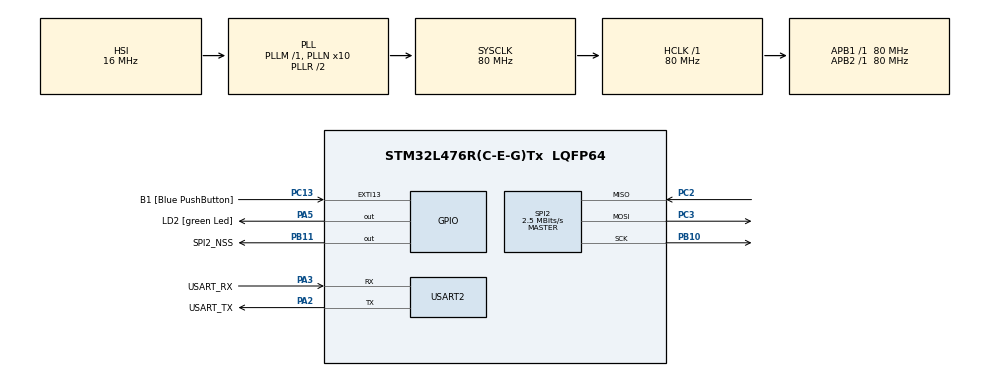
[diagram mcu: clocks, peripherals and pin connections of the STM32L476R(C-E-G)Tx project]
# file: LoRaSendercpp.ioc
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Mcu.Family=STM32L4
Mcu.Name=STM32L476R(C-E-G)Tx
Mcu.Package=LQFP64
NVIC.EXTI15_10_IRQn=true\:0\:0\:false\:false\:true\:true\:true
NVIC.PriorityGroup=NVIC_PRIORITYGROUP_4
PA13\ (JTMS-SWDIO).GPIO_Label=TMS
PA13\ (JTMS-SWDIO).Mode=Serial_Wire
PA13\ (JTMS-SWDIO).Signal=SYS_JTMS-SWDIO
PA14\ (JTCK-SWCLK).GPIO_Label=TCK
PA14\ (JTCK-SWCLK).Mode=Serial_Wire
PA14\ (JTCK-SWCLK).Signal=SYS_JTCK-SWCLK
PA2.GPIO_Label=USART_TX
PA2.GPIO_Mode=GPIO_MODE_AF_PP
PA2.GPIO_PuPd=GPIO_NOPULL
PA2.GPIO_Speed=GPIO_SPEED_FREQ_VERY_HIGH
PA2.Mode=Asynchronous
PA2.Signal=USART2_TX
PA3.GPIO_Label=USART_RX
PA3.GPIO_Mode=GPIO_MODE_AF_PP
PA3.GPIO_PuPd=GPIO_NOPULL
PA3.GPIO_Speed=GPIO_SPEED_FREQ_VERY_HIGH
PA3.Mode=Asynchronous
PA3.Signal=USART2_RX
PA5.GPIO_Label=LD2 [green Led]
PA5.GPIO_ModeDefaultOutputPP=GPIO_MODE_OUTPUT_PP
PA5.GPIO_PuPd=GPIO_NOPULL
PA5.GPIO_Speed=GPIO_SPEED_FREQ_LOW
PA5.Signal=GPIO_Output
PB10.Mode=Full_Duplex_Master
PB10.Signal=SPI2_SCK
PB11.GPIO_Label=SPI2_NSS
PB11.PinState=GPIO_PIN_SET
PB11.Signal=GPIO_Output
PB3\ (JTDO-TRACESWO).GPIO_Label=SWO
PB3\ (JTDO-TRACESWO).Signal=SYS_JTDO-SWO
PC13.GPIO_Label=B1 [Blue PushButton]
PC13.GPIO_ModeDefaultEXTI=GPIO_MODE_IT_FALLING
PC13.GPIO_PuPd=GPIO_NOPULL
PC13.Signal=GPXTI13
PC14-OSC32_IN\ (PC14).Mode=LSE-External-Oscillator
PC14-OSC32_IN\ (PC14).Signal=RCC_OSC32_IN
PC15-OSC32_OUT\ (PC15).Mode=LSE-External-Oscillator
PC15-OSC32_OUT\ (PC15).Signal=RCC_OSC32_OUT
PC2.Mode=Full_Duplex_Master
PC2.Signal=SPI2_MISO
PC3.Mode=Full_Duplex_Master
PC3.Signal=SPI2_MOSI
PH0-OSC_IN\ (PH0).Signal=RCC_OSC_IN
PH1-OSC_OUT\ (PH1).Signal=RCC_OSC_OUT
ProjectManager.HeapSize=0x200
ProjectManager.StackSize=0x400
ProjectManager.TargetToolchain=STM32CubeIDE
RCC.ADCFreq_Value=64000000
RCC.AHBFreq_Value=80000000
RCC.APB1Freq_Value=80000000
RCC.APB1TimFreq_Value=80000000
RCC.APB2Freq_Value=80000000
RCC.APB2TimFreq_Value=80000000
RCC.CortexFreq_Value=80000000
RCC.HCLKFreq_Value=80000000
RCC.HSE_VALUE=8000000
RCC.HSI_VALUE=16000000
RCC.MSI_VALUE=4000000
RCC.PLLN=10
RCC.PLLSourceVirtual=RCC_PLLSOURCE_HSI
RCC.PREFETCH_ENABLE=1
RCC.SYSCLKFreq_VALUE=80000000
RCC.SYSCLKSource=RCC_SYSCLKSOURCE_PLLCLK
RCC.USBFreq_Value=64000000
RCC.VCOOutputFreq_Value=160000000
SPI2.BaudRatePrescaler=SPI_BAUDRATEPRESCALER_32
SPI2.CalculateBaudRate=2.5 MBits/s
SPI2.DataSize=SPI_DATASIZE_8BIT
SPI2.Direction=SPI_DIRECTION_2LINES
SPI2.Mode=SPI_MODE_MASTER
SPI2.VirtualType=VM_MASTER
TIM1.Period=0xffff
TIM1.Prescaler=79
USART2.VirtualMode-Asynchronous=VM_ASYNC
VP_TIM1_VS_ClockSourceINT.Mode=Internal
board=NUCLEO-L476RG

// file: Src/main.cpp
/* USER CODE BEGIN Header */
/**
  ******************************************************************************
  * @file           : main.c
  * @brief          : Main program body
  ******************************************************************************
  * @attention
  *
  * <h2><center>&copy; Copyright (c) 2019 STMicroelectronics.
  * All rights reserved.</center></h2>
  *
  * This software component is licensed by ST under BSD 3-Clause license,
  * the "License"; You may not use this file except in compliance with the
  * License. You may obtain a copy of the License at:
  *                        opensource.org/licenses/BSD-3-Clause
  *
  ******************************************************************************
  */
/* USER CODE END Header */

#include "main.h"

/* USER CODE BEGIN Includes */
#include "lora.h"
/* USER CODE END Includes */

SPI_HandleTypeDef hspi2;

TIM_HandleTypeDef htim1;

UART_HandleTypeDef huart2;

/* USER CODE BEGIN PV */
LoRaClass lora;
int counter;

/* USER CODE END PV */

void SystemClock_Config(void);
static void MX_GPIO_Init(void);
static void MX_USART2_UART_Init(void);
static void MX_SPI2_Init(void);
static void MX_TIM1_Init(void);

int main(void)
{

  /* MCU Configuration--------------------------------------------------------*/

  /* Reset of all peripherals, Initializes the Flash interface and the Systick. */
  HAL_Init();

  /* Configure the system clock */
  SystemClock_Config();

  /* Initialize all configured peripherals */
  MX_GPIO_Init();
  MX_USART2_UART_Init();
  MX_SPI2_Init();
  MX_TIM1_Init();

  /* USER CODE BEGIN 2 */
  LoRa.setPins(SPI2_NSS_GPIO_Port, SPI2_NSS_Pin, NULL, -1, EXTI15_10_IRQn);
  LoRa.setSPI(&hspi2);
  LoRa.setTIM(&htim1);

  if (!LoRa.begin(433.123E6)) {
	  printf("Starting LoRa failed!\n");
      while (1);
  }
  LoRa.setTxPower(20, 1);
  LoRa.setSignalBandwidth(125E3);
  LoRa.setSpreadingFactor(11);
  LoRa.enableCrc();
  printf("LoRa started\n");
  /* USER CODE END 2 */

  /* Infinite loop */
  /* USER CODE BEGIN WHILE */
  while (1)
  {
	printf("Sending packet: %d\n", counter);

	// send packet
	LoRa.beginPacket();
	LoRa.print("hello ");
	LoRa.print(counter);
	LoRa.print("\n");
	LoRa.print("LF working");
	LoRa.endPacket();

	counter++;

	HAL_Delay(1500);
    /* USER CODE END WHILE */

  }
}

void SystemClock_Config(void)
{
  RCC_OscInitTypeDef RCC_OscInitStruct = {0};
  RCC_ClkInitTypeDef RCC_ClkInitStruct = {0};
  RCC_PeriphCLKInitTypeDef PeriphClkInit = {0};

  /** Initializes the CPU, AHB and APB busses clocks
  */
  RCC_OscInitStruct.OscillatorType = RCC_OSCILLATORTYPE_HSI;
  RCC_OscInitStruct.HSIState = RCC_HSI_ON;
  RCC_OscInitStruct.HSICalibrationValue = RCC_HSICALIBRATION_DEFAULT;
  RCC_OscInitStruct.PLL.PLLState = RCC_PLL_ON;
  RCC_OscInitStruct.PLL.PLLSource = RCC_PLLSOURCE_HSI;
  RCC_OscInitStruct.PLL.PLLM = 1;
  RCC_OscInitStruct.PLL.PLLN = 10;
  RCC_OscInitStruct.PLL.PLLP = RCC_PLLP_DIV7;
  RCC_OscInitStruct.PLL.PLLQ = RCC_PLLQ_DIV2;
  RCC_OscInitStruct.PLL.PLLR = RCC_PLLR_DIV2;
  if (HAL_RCC_OscConfig(&RCC_OscInitStruct) != HAL_OK)
  {
    Error_Handler();
  }
  /** Initializes the CPU, AHB and APB busses clocks
  */
  RCC_ClkInitStruct.ClockType = RCC_CLOCKTYPE_HCLK|RCC_CLOCKTYPE_SYSCLK
                              |RCC_CLOCKTYPE_PCLK1|RCC_CLOCKTYPE_PCLK2;
  RCC_ClkInitStruct.SYSCLKSource = RCC_SYSCLKSOURCE_PLLCLK;
  RCC_ClkInitStruct.AHBCLKDivider = RCC_SYSCLK_DIV1;
  RCC_ClkInitStruct.APB1CLKDivider = RCC_HCLK_DIV1;
  RCC_ClkInitStruct.APB2CLKDivider = RCC_HCLK_DIV1;

  if (HAL_RCC_ClockConfig(&RCC_ClkInitStruct, FLASH_LATENCY_4) != HAL_OK)
  {
    Error_Handler();
  }
  PeriphClkInit.PeriphClockSelection = RCC_PERIPHCLK_USART2;
  PeriphClkInit.Usart2ClockSelection = RCC_USART2CLKSOURCE_PCLK1;
  if (HAL_RCCEx_PeriphCLKConfig(&PeriphClkInit) != HAL_OK)
  {
    Error_Handler();
  }
  /** Configure the main internal regulator output voltage
  */
  if (HAL_PWREx_ControlVoltageScaling(PWR_REGULATOR_VOLTAGE_SCALE1) != HAL_OK)
  {
    Error_Handler();
  }
}

static void MX_SPI2_Init(void)
{

  /* SPI2 parameter configuration*/
  hspi2.Instance = SPI2;
  hspi2.Init.Mode = SPI_MODE_MASTER;
  hspi2.Init.Direction = SPI_DIRECTION_2LINES;
  hspi2.Init.DataSize = SPI_DATASIZE_8BIT;
  hspi2.Init.CLKPolarity = SPI_POLARITY_LOW;
  hspi2.Init.CLKPhase = SPI_PHASE_1EDGE;
  hspi2.Init.NSS = SPI_NSS_SOFT;
  hspi2.Init.BaudRatePrescaler = SPI_BAUDRATEPRESCALER_16;
  hspi2.Init.FirstBit = SPI_FIRSTBIT_MSB;
  hspi2.Init.TIMode = SPI_TIMODE_DISABLE;
  hspi2.Init.CRCCalculation = SPI_CRCCALCULATION_DISABLE;
  hspi2.Init.CRCPolynomial = 7;
  hspi2.Init.CRCLength = SPI_CRC_LENGTH_DATASIZE;
  hspi2.Init.NSSPMode = SPI_NSS_PULSE_ENABLE;
  if (HAL_SPI_Init(&hspi2) != HAL_OK)
  {
    Error_Handler();
  }

}

static void MX_TIM1_Init(void)
{

  TIM_ClockConfigTypeDef sClockSourceConfig = {0};
  TIM_MasterConfigTypeDef sMasterConfig = {0};

  htim1.Instance = TIM1;
  htim1.Init.Prescaler = 79;
  htim1.Init.CounterMode = TIM_COUNTERMODE_UP;
  htim1.Init.Period = 0xffff;
  htim1.Init.ClockDivision = TIM_CLOCKDIVISION_DIV1;
  htim1.Init.RepetitionCounter = 0;
  htim1.Init.AutoReloadPreload = TIM_AUTORELOAD_PRELOAD_DISABLE;
  if (HAL_TIM_Base_Init(&htim1) != HAL_OK)
  {
    Error_Handler();
  }
  sClockSourceConfig.ClockSource = TIM_CLOCKSOURCE_INTERNAL;
  if (HAL_TIM_ConfigClockSource(&htim1, &sClockSourceConfig) != HAL_OK)
  {
    Error_Handler();
  }
  sMasterConfig.MasterOutputTrigger = TIM_TRGO_RESET;
  sMasterConfig.MasterOutputTrigger2 = TIM_TRGO2_RESET;
  sMasterConfig.MasterSlaveMode = TIM_MASTERSLAVEMODE_DISABLE;
  if (HAL_TIMEx_MasterConfigSynchronization(&htim1, &sMasterConfig) != HAL_OK)
  {
    Error_Handler();
  }

}

static void MX_USART2_UART_Init(void)
{

  huart2.Instance = USART2;
  huart2.Init.BaudRate = 115200;
  huart2.Init.WordLength = UART_WORDLENGTH_8B;
  huart2.Init.StopBits = UART_STOPBITS_1;
  huart2.Init.Parity = UART_PARITY_NONE;
  huart2.Init.Mode = UART_MODE_TX_RX;
  huart2.Init.HwFlowCtl = UART_HWCONTROL_NONE;
  huart2.Init.OverSampling = UART_OVERSAMPLING_16;
  huart2.Init.OneBitSampling = UART_ONE_BIT_SAMPLE_DISABLE;
  huart2.AdvancedInit.AdvFeatureInit = UART_ADVFEATURE_NO_INIT;
  if (HAL_UART_Init(&huart2) != HAL_OK)
  {
    Error_Handler();
  }

}

static void MX_GPIO_Init(void)
{
  GPIO_InitTypeDef GPIO_InitStruct = {0};

  /* GPIO Ports Clock Enable */
  __HAL_RCC_GPIOC_CLK_ENABLE();
  __HAL_RCC_GPIOH_CLK_ENABLE();
  __HAL_RCC_GPIOA_CLK_ENABLE();
  __HAL_RCC_GPIOB_CLK_ENABLE();

  /*Configure GPIO pin Output Level */
  HAL_GPIO_WritePin(LD2_GPIO_Port, LD2_Pin, GPIO_PIN_RESET);

  /*Configure GPIO pin Output Level */
  HAL_GPIO_WritePin(SPI2_NSS_GPIO_Port, SPI2_NSS_Pin, GPIO_PIN_SET);

  /*Configure GPIO pin : B1_Pin */
  GPIO_InitStruct.Pin = B1_Pin;
  GPIO_InitStruct.Mode = GPIO_MODE_IT_FALLING;
  GPIO_InitStruct.Pull = GPIO_NOPULL;
  HAL_GPIO_Init(B1_GPIO_Port, &GPIO_InitStruct);

  /*Configure GPIO pin : LD2_Pin */
  GPIO_InitStruct.Pin = LD2_Pin;
  GPIO_InitStruct.Mode = GPIO_MODE_OUTPUT_PP;
  GPIO_InitStruct.Pull = GPIO_NOPULL;
  GPIO_InitStruct.Speed = GPIO_SPEED_FREQ_LOW;
  HAL_GPIO_Init(LD2_GPIO_Port, &GPIO_InitStruct);

  /*Configure GPIO pin : SPI2_NSS_Pin */
  GPIO_InitStruct.Pin = SPI2_NSS_Pin;
  GPIO_InitStruct.Mode = GPIO_MODE_OUTPUT_PP;
  GPIO_InitStruct.Pull = GPIO_NOPULL;
  GPIO_InitStruct.Speed = GPIO_SPEED_FREQ_LOW;
  HAL_GPIO_Init(SPI2_NSS_GPIO_Port, &GPIO_InitStruct);

  /* EXTI interrupt init*/
  HAL_NVIC_SetPriority(EXTI15_10_IRQn, 0, 0);
  HAL_NVIC_EnableIRQ(EXTI15_10_IRQn);

}

/* USER CODE BEGIN 4 */
void HAL_GPIO_EXTI_Callback (uint16_t GPIO_Pin){
	if(GPIO_Pin == B1_Pin){
		lora.onDio0Rise();
	}
}
/* USER CODE END 4 */

void Error_Handler(void)
{
}

/************************ (C) COPYRIGHT STMicroelectronics *****END OF FILE****/
